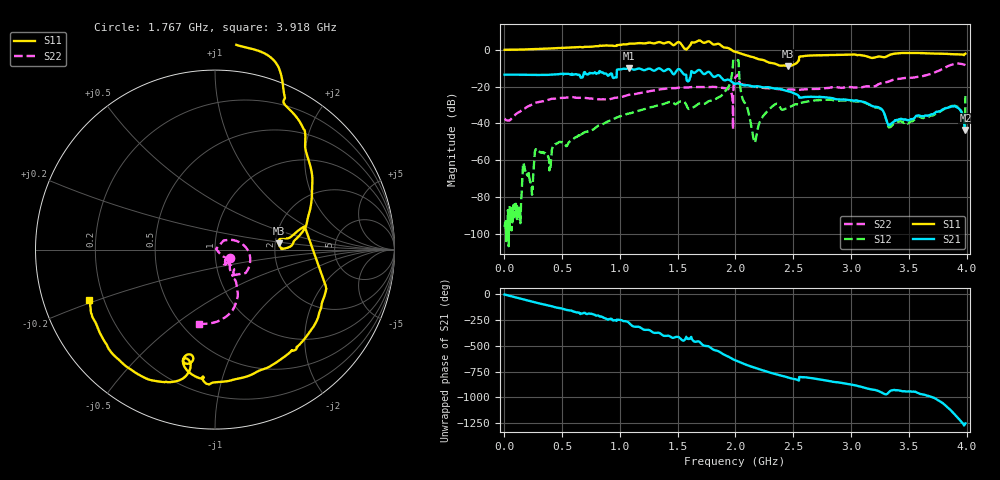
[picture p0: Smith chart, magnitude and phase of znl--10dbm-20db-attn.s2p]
#  HZ  S  RI  R  50.00
! Rohde & Schwarz Vector Network Analyzer
! Rohde-Schwarz,ZNL20-2Port,1323001220101312,1.72.1.6-23.02.1.246
! Created: UTC 10/23/2024, 6:12:17 PM
! freq[Hz]  re:S11  im:S11  re:S21  im:S21  re:S12  im:S12  re:S22  im:S22
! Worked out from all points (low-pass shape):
!   2000 points, 3.9 MHz to 3.99 GHz, reference 50 ohm
!   highest |S21| = -10.07 dB at 1.083 GHz (marker M1); lowest = -43.7 dB at 3.99 GHz (marker M2)
!   |S21| within 3 dB of the highest: 973.9 MHz to 1.459 GHz (485.6 MHz wide, 39.9 % of centre); 1.616 GHz to 1.722 GHz (105.4 MHz wide, 6.32 % of centre) (the widest 2 of 11)
!   lowest |S11| = -9.0 dB at 2.458 GHz (marker M3), VSWR 2.11, Z = 104 + j8.35 ohm
!   |S11| at or under -10 dB: nowhere
!   |S22| runs from -43.3 to -7.5 dB; largest |S21 - S12| = 0.64
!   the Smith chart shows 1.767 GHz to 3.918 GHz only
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3900000  1.001 -0.00483  0.2103 -0.00351  8.09e-07 -1.49e-05  0.0134 4.32e-05
1.315094e8  0.9935 -0.188  0.1645 -0.1304  -3.86e-05 9.4e-06  0.0156 0.0132
1.77369e8  0.9875 -0.2564  0.1295 -0.1629  -0.00059 -0.000115  0.0202 0.0151
2.35192e8  0.974 -0.3455  0.0778 -0.1919  -8.87e-05 0.00017  0.0251 0.0191
2.830456e8  0.9607 -0.4199  0.0306 -0.2046  -0.00182 -0.000534  0.0316 0.0192
3.887221e8  0.9039 -0.5938  -0.0693 -0.1969  -0.000273 0.000974  0.0401 0.0192
6.698616e8  0.5288 -1.044  -0.1749 0.016  0.00276 0.0043  0.0487 0.00967
1.082598e9  -0.511 -1.373  0.0524 0.3093  0.00678 -0.0172  0.0537 0.0262
1.333829e9  -1.483 -0.6406  0.3039 -0.0634  -0.0218 -0.0225  0.0816 0.0121
1.507298e9  -1.607 0.1892  0.1769 -0.2395  -0.0365 0.0071  0.0918 -0.0172
1.567115e9  -1.013 0.2357  0.0642 -0.1983  -0.0225 0.0275  0.0902 -0.0258
1.682761e9  -1.614 0.7693  -0.0305 -0.2812  -0.0177 0.029  0.0875 -0.0412
1.850249e9  -0.2208 1.439  -0.2006 0.0379  0.0181 0.0467  0.0789 -0.0528
1.997797e9  0.4087 0.7868  0.0176 0.1173  0.3172 -0.4334  0.172 0.0126
2.16329e9  0.5397 0.2961  0.0986 0.0157  -0.00102 0.0029  0.0699 -0.0713
2.306851e9  0.4366 0.0409  0.0693 -0.0617  0.0249 -0.0096  0.0628 -0.0629
2.458387e9  0.3545 0.0349  0.00232 -0.0746  0.016 -0.0213  0.0582 -0.0587
2.661765e9  0.5264 -0.4613  -0.00374 -0.0525  0.0049 -0.0411  0.0573 -0.064
3.110391e9  -0.1501 -0.6785  -0.0382 0.00297  -0.0373 0.0015  0.0573 -0.0793
3.325732e9  -0.1489 -0.6867  -0.00546 0.00701  -0.00395 0.00686  0.0952 -0.0973
3.888011e9  -0.694 -0.3018  0.00774 -0.0279  0.00812 -0.0286  -0.00996 -0.4076
3.9897e9  -0.7234 -0.2944  -0.0065 -0.000793  -0.0109 -0.0539  -0.2253 -0.3109
